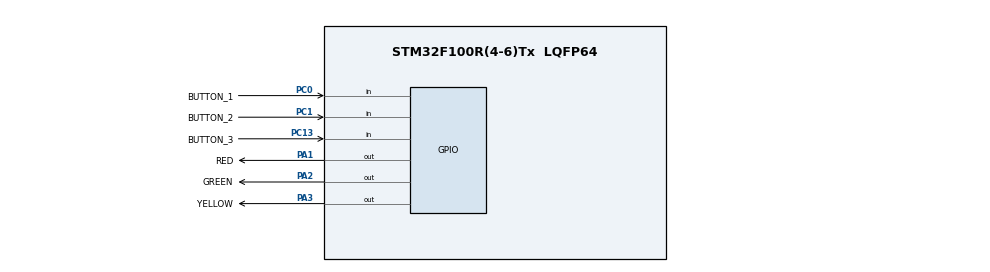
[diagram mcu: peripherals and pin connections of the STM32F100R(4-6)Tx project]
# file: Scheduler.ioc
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Mcu.Family=STM32F1
Mcu.Name=STM32F100R(4-6)Tx
Mcu.Package=LQFP64
NVIC.PriorityGroup=NVIC_PRIORITYGROUP_4
NVIC.TIM2_IRQn=true\:0\:0\:false\:false\:true\:true\:true\:true
PA1.GPIO_Label=RED
PA1.Signal=GPIO_Output
PA2.GPIO_Label=GREEN
PA2.Signal=GPIO_Output
PA3.GPIO_Label=YELLOW
PA3.Signal=GPIO_Output
PC0.GPIO_Label=BUTTON_1
PC0.GPIO_PuPd=GPIO_PULLUP
PC0.Signal=GPIO_Input
PC1.GPIO_Label=BUTTON_2
PC1.GPIO_PuPd=GPIO_PULLUP
PC1.Signal=GPIO_Input
PC13-TAMPER-RTC.GPIO_Label=BUTTON_3
PC13-TAMPER-RTC.GPIO_PuPd=GPIO_PULLUP
PC13-TAMPER-RTC.Signal=GPIO_Input
ProjectManager.HeapSize=0x200
ProjectManager.StackSize=0x400
ProjectManager.TargetToolchain=STM32CubeIDE
RCC.APB1Freq_Value=8000000
RCC.APB2Freq_Value=8000000
TIM2.Period=9
TIM2.Prescaler=7999
VP_SYS_VS_ND.Mode=No_Debug
VP_TIM2_VS_ClockSourceINT.Mode=Internal
board=custom

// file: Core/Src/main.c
/* USER CODE BEGIN Header */
/**
  ******************************************************************************
  * @file           : main.c
  * @brief          : Main program body
  ******************************************************************************
  * @attention
  *
  * Copyright (c) 2022 STMicroelectronics.
  * All rights reserved.
  *
  * This software is licensed under terms that can be found in the LICENSE file
  * in the root directory of this software component.
  * If no LICENSE file comes with this software, it is provided AS-IS.
  *
  ******************************************************************************
  */
/* USER CODE END Header */
#include "main.h"

/* USER CODE BEGIN Includes */
#include "Scheduler.h"
#include "Button_software.h"
#include "Software_timer.h"
#include "Light_controller.h"
/* USER CODE END Includes */

/* USER CODE BEGIN PD */
const int TIMER_PROP = 100;
/* USER CODE END PD */

 TIM_HandleTypeDef htim2;

void SystemClock_Config(void);
static void MX_GPIO_Init(void);
static void MX_TIM2_Init(void);

/* USER CODE BEGIN 0 */
int status = 0;
void HAL_TIM_PeriodElapsedCallback(TIM_HandleTypeDef *htim){
	SCH_update();
}

void light_fsm(){
	switch(status){
	case 0:
		setTimer(1*TIMER_PROP, 0);
		turnOffAll();
		status = 1;
		break;

	case 1:
		if (timer_flag[0] == 1){
			toggleRed();
			status = 2;
			setTimer(1*TIMER_PROP, 0);
		}

		break;

	case 2:
		if (timer_flag[0] == 1){
			toggleGreen();
			status = 3;
			setTimer(1*TIMER_PROP, 0);
		}

		break;

	case 3:
		if (timer_flag[0] == 1){
			toggleYellow();
			status = 0;
			setTimer(1*TIMER_PROP, 0);
		}

		break;

	default:
		status = 0;
		break;
	}

}

void catch_button(){
	button_reading();

	if (is_button_pressed(0)){
		SCH_add_task(0, 0, 1, toggleRed);
	}
	else if (is_button_pressed(1))
		SCH_add_task(0, 0, 1, toggleGreen);
	else if (is_button_pressed(2)){
		status = 0;
		SCH_add_task(0, 1, 1, light_fsm);
	}

}
/* USER CODE END 0 */

int main(void)
{

  /* MCU Configuration--------------------------------------------------------*/

  /* Reset of all peripherals, Initializes the Flash interface and the Systick. */
  HAL_Init();

  /* Configure the system clock */
  SystemClock_Config();

  /* Initialize all configured peripherals */
  MX_GPIO_Init();
  MX_TIM2_Init();
  /* USER CODE BEGIN 2 */
  HAL_TIM_Base_Start_IT(&htim2);

  SCH_Init();
  SCH_add_task(0, 1, 0, timerRun);
  SCH_add_task(0, 1, 0, light_fsm);
  /* USER CODE END 2 */

  /* Infinite loop */
  /* USER CODE BEGIN WHILE */
  while (1)
  {
	  SCH_dispatch_task();
    /* USER CODE END WHILE */

  }
}

void SystemClock_Config(void)
{
  RCC_OscInitTypeDef RCC_OscInitStruct = {0};
  RCC_ClkInitTypeDef RCC_ClkInitStruct = {0};

  /** Initializes the RCC Oscillators according to the specified parameters
  * in the RCC_OscInitTypeDef structure.
  */
  RCC_OscInitStruct.OscillatorType = RCC_OSCILLATORTYPE_HSI;
  RCC_OscInitStruct.HSIState = RCC_HSI_ON;
  RCC_OscInitStruct.HSICalibrationValue = RCC_HSICALIBRATION_DEFAULT;
  RCC_OscInitStruct.PLL.PLLState = RCC_PLL_NONE;
  if (HAL_RCC_OscConfig(&RCC_OscInitStruct) != HAL_OK)
  {
    Error_Handler();
  }

  /** Initializes the CPU, AHB and APB buses clocks
  */
  RCC_ClkInitStruct.ClockType = RCC_CLOCKTYPE_HCLK|RCC_CLOCKTYPE_SYSCLK
                              |RCC_CLOCKTYPE_PCLK1|RCC_CLOCKTYPE_PCLK2;
  RCC_ClkInitStruct.SYSCLKSource = RCC_SYSCLKSOURCE_HSI;
  RCC_ClkInitStruct.AHBCLKDivider = RCC_SYSCLK_DIV1;
  RCC_ClkInitStruct.APB1CLKDivider = RCC_HCLK_DIV1;
  RCC_ClkInitStruct.APB2CLKDivider = RCC_HCLK_DIV1;

  if (HAL_RCC_ClockConfig(&RCC_ClkInitStruct, FLASH_LATENCY_0) != HAL_OK)
  {
    Error_Handler();
  }
}

static void MX_TIM2_Init(void)
{

  TIM_ClockConfigTypeDef sClockSourceConfig = {0};
  TIM_MasterConfigTypeDef sMasterConfig = {0};

  htim2.Instance = TIM2;
  htim2.Init.Prescaler = 7999;
  htim2.Init.CounterMode = TIM_COUNTERMODE_UP;
  htim2.Init.Period = 9;
  htim2.Init.ClockDivision = TIM_CLOCKDIVISION_DIV1;
  htim2.Init.AutoReloadPreload = TIM_AUTORELOAD_PRELOAD_DISABLE;
  if (HAL_TIM_Base_Init(&htim2) != HAL_OK)
  {
    Error_Handler();
  }
  sClockSourceConfig.ClockSource = TIM_CLOCKSOURCE_INTERNAL;
  if (HAL_TIM_ConfigClockSource(&htim2, &sClockSourceConfig) != HAL_OK)
  {
    Error_Handler();
  }
  sMasterConfig.MasterOutputTrigger = TIM_TRGO_RESET;
  sMasterConfig.MasterSlaveMode = TIM_MASTERSLAVEMODE_DISABLE;
  if (HAL_TIMEx_MasterConfigSynchronization(&htim2, &sMasterConfig) != HAL_OK)
  {
    Error_Handler();
  }

}

static void MX_GPIO_Init(void)
{
  GPIO_InitTypeDef GPIO_InitStruct = {0};

  /* GPIO Ports Clock Enable */
  __HAL_RCC_GPIOC_CLK_ENABLE();
  __HAL_RCC_GPIOA_CLK_ENABLE();

  /*Configure GPIO pin Output Level */
  HAL_GPIO_WritePin(GPIOA, RED_Pin|GREEN_Pin|YELLOW_Pin, GPIO_PIN_RESET);

  /*Configure GPIO pins : BUTTON_3_Pin BUTTON_1_Pin BUTTON_2_Pin */
  GPIO_InitStruct.Pin = BUTTON_3_Pin|BUTTON_1_Pin|BUTTON_2_Pin;
  GPIO_InitStruct.Mode = GPIO_MODE_INPUT;
  GPIO_InitStruct.Pull = GPIO_PULLUP;
  HAL_GPIO_Init(GPIOC, &GPIO_InitStruct);

  /*Configure GPIO pins : RED_Pin GREEN_Pin YELLOW_Pin */
  GPIO_InitStruct.Pin = RED_Pin|GREEN_Pin|YELLOW_Pin;
  GPIO_InitStruct.Mode = GPIO_MODE_OUTPUT_PP;
  GPIO_InitStruct.Pull = GPIO_NOPULL;
  GPIO_InitStruct.Speed = GPIO_SPEED_FREQ_LOW;
  HAL_GPIO_Init(GPIOA, &GPIO_InitStruct);

}

void Error_Handler(void)
{
  __disable_irq();
  while (1)
  {
  }
}
